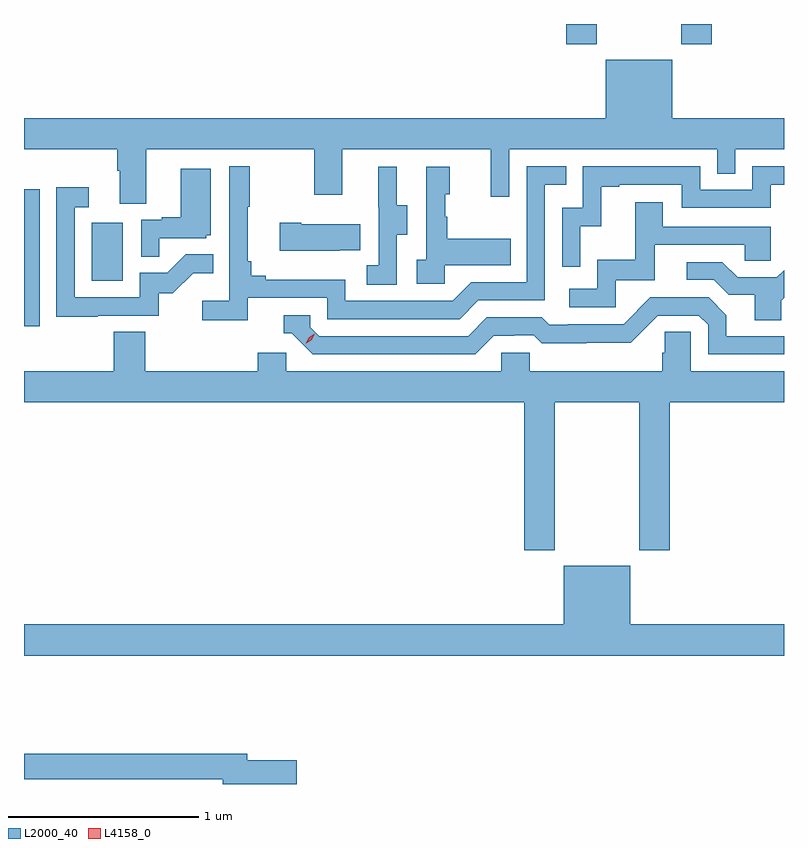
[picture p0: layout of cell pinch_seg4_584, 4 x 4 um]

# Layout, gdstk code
import gdstk
lib = gdstk.Library(unit=1e-6, precision=1e-09)
def R(c, l, rs):  # rectangles x0, y0, x1, y1
    for r in rs: c.add(gdstk.rectangle(r[:2], r[2:], *l))
def P(c, l, *ps):  # polygons
    for p in ps: c.add(gdstk.Polygon(p, *l))
L2000_40 = (2000, 40)
L4158_0 = (4158, 0)

pinch_seg4_584 = lib.new_cell('pinch_seg4_584')
R(pinch_seg4_584, L2000_40, [(1021.218,786.564,1021.3,787.285), (1021.574,786.804,1021.738,787.111), (1024.073,788.049,1024.233,788.156), (1024.678,788.049,1024.838,788.156)])
P(pinch_seg4_584, L2000_40, [(1021.861,787.496),(1022.746,787.496),(1022.746,787.257),(1022.893,787.257),(1022.893,787.496),(1023.674,787.496),(1023.674,787.248),(1023.771,787.248),(1023.771,787.496),(1024.866,787.496),(1024.866,787.369),(1024.962,787.369),(1024.962,787.496),(1025.218,787.496),(1025.218,787.66),(1024.63,787.66),(1024.63,787.969),(1024.28,787.969),(1024.28,787.66),(1021.218,787.66),(1021.218,787.496),(1021.709,787.496),(1021.709,787.384),(1021.721,787.384),(1021.721,787.21),(1021.861,787.21)],
  [(1022.396,786.714),(1022.814,786.714),(1022.814,786.603),(1023.511,786.603),(1023.61,786.702),(1023.96,786.702),(1023.96,787.311),(1024.073,787.311),(1024.073,787.407),(1023.864,787.407),(1023.864,786.798),(1023.573,786.798),(1023.474,786.699),(1022.91,786.699),(1022.91,786.811),(1022.491,786.811),(1022.491,786.83),(1022.414,786.83),(1022.414,786.907),(1022.395,786.907),(1022.395,787.195),(1022.407,787.195),(1022.407,787.408),(1022.298,787.408),(1022.298,786.7),(1022.157,786.7),(1022.157,786.598),(1022.396,786.598)],
  [(1024.146,787.091),(1024.256,787.091),(1024.256,787.299),(1024.351,787.299),(1024.351,787.311),(1024.68,787.311),(1024.68,787.188),(1025.148,787.188),(1025.148,787.311),(1025.218,787.311),(1025.218,787.407),(1025.052,787.407),(1025.052,787.284),(1024.776,787.284),(1024.776,787.407),(1024.158,787.407),(1024.158,787.188),(1024.05,787.188),(1024.05,786.879),(1024.146,786.879)],
  [(1023.432,786.887),(1023.779,786.887),(1023.779,787.027),(1023.445,787.027),(1023.445,787.142),(1023.435,787.142),(1023.435,787.26),(1023.46,787.26),(1023.46,787.405),(1023.336,787.405),(1023.336,786.914),(1023.285,786.914),(1023.285,786.789),(1023.432,786.789)],
  [(1023.18,787.048),(1023.235,787.048),(1023.235,787.203),(1023.181,787.203),(1023.181,787.405),(1023.083,787.405),(1023.083,787.191),(1023.084,787.191),(1023.084,786.887),(1023.021,786.887),(1023.021,786.784),(1023.18,786.784)],
  [(1021.931,787.029),(1022.178,787.029),(1022.178,787.044),(1022.2,787.044),(1022.2,787.393),(1022.042,787.393),(1022.042,787.138),(1021.943,787.138),(1021.943,787.125),(1021.836,787.125),(1021.836,786.931),(1021.931,786.931)],
  [(1021.607,786.621),(1021.926,786.621),(1021.926,786.738),(1022.002,786.738),(1022.109,786.845),(1022.213,786.845),(1022.213,786.944),(1022.069,786.944),(1021.971,786.846),(1021.827,786.846),(1021.827,786.717),(1021.485,786.717),(1021.485,787.191),(1021.558,787.191),(1021.558,787.297),(1021.389,787.297),(1021.389,786.616),(1021.607,786.616)],
  [(1024.332,786.807),(1024.537,786.807),(1024.537,786.993),(1025.011,786.993),(1025.011,786.909),(1025.148,786.909),(1025.148,787.089),(1024.579,787.089),(1024.579,787.219),(1024.435,787.219),(1024.435,786.916),(1024.236,786.916),(1024.236,786.762),(1024.089,786.762),(1024.089,786.666),(1024.332,786.666)],
  [(1022.879,786.965),(1022.987,786.965),(1022.987,787.102),(1022.677,787.102),(1022.677,787.11),(1022.565,787.11),(1022.565,786.962),(1022.879,786.962)],
  [(1025.203,786.7),(1025.218,786.715),(1025.218,786.859),(1025.181,786.822),(1024.975,786.822),(1024.894,786.903),(1024.707,786.903),(1024.707,786.81),(1024.848,786.81),(1024.928,786.73),(1025.063,786.73),(1025.063,786.598),(1025.203,786.598)],
  [(1023.691,786.516),(1023.798,786.516),(1023.798,786.519),(1023.901,786.519),(1023.943,786.477),(1024.176,786.477),(1024.176,786.479),(1024.412,786.479),(1024.554,786.621),(1024.77,786.621),(1024.818,786.573),(1024.818,786.417),(1025.218,786.417),(1025.218,786.513),(1024.915,786.513),(1024.915,786.623),(1024.821,786.717),(1024.515,786.717),(1024.374,786.576),(1024.081,786.576),(1024.081,786.573),(1023.982,786.573),(1023.943,786.612),(1023.654,786.612),(1023.555,786.513),(1022.772,786.513),(1022.724,786.561),(1022.724,786.624),(1022.585,786.624),(1022.585,786.528),(1022.628,786.528),(1022.739,786.417),(1023.592,786.417)],
  [(1024.011,786.164),(1024.456,786.164),(1024.456,785.385),(1024.616,785.385),(1024.616,786.164),(1025.218,786.164),(1025.218,786.328),(1024.728,786.328),(1024.728,786.536),(1024.591,786.536),(1024.591,786.426),(1024.577,786.426),(1024.577,786.328),(1023.879,786.328),(1023.879,786.426),(1023.729,786.426),(1023.729,786.328),(1022.598,786.328),(1022.598,786.426),(1022.447,786.426),(1022.447,786.328),(1021.856,786.328),(1021.856,786.536),(1021.691,786.536),(1021.691,786.328),(1021.218,786.328),(1021.218,786.164),(1023.851,786.164),(1023.851,785.385),(1024.011,785.385)],
  [(1025.218,784.996),(1024.408,784.996),(1024.408,785.305),(1024.058,785.305),(1024.058,784.996),(1021.218,784.996),(1021.218,784.832),(1025.218,784.832)],
  [(1022.653,784.28),(1022.392,784.28),(1022.392,784.316),(1021.218,784.316),(1021.218,784.18),(1022.264,784.18),(1022.264,784.156),(1022.653,784.156)])
P(pinch_seg4_584, L4158_0, [(1022.702,786.474),(1022.702,786.474),(1022.718,786.507),(1022.748,786.527),(1022.748,786.527),(1022.748,786.526),(1022.732,786.494),(1022.702,786.474)])

lib.write_gds('pinch_seg4_584.gds')
